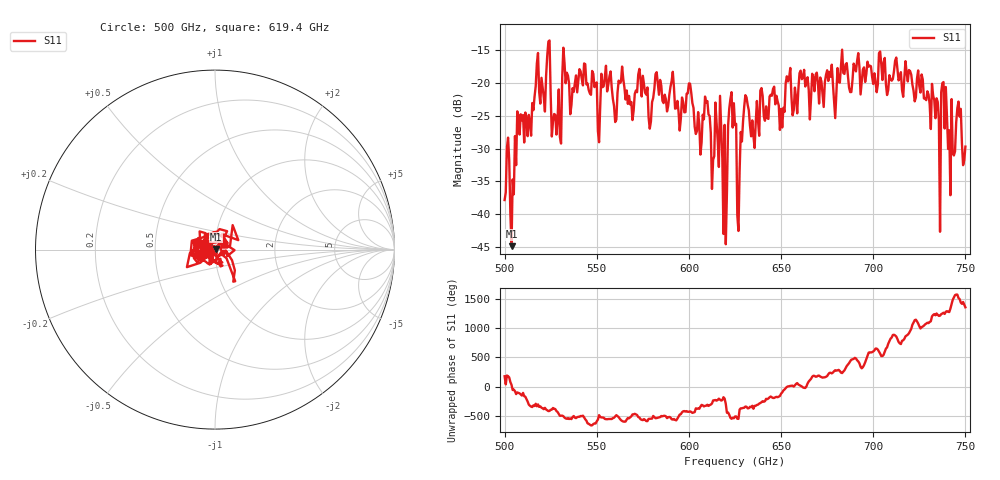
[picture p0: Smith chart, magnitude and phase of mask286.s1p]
!Created with skrf (http://scikit-rf.org).
# GHz S MA R 50.0
!freq magS11 angS11
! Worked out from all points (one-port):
!   401 points, 500 GHz to 750 GHz, reference 50 ohm
!   lowest |S11| = -44.8 dB at 503.8 GHz (marker M1), VSWR 1.01, Z = 50.5 + j0.301 ohm
!   |S11| at or under -10 dB: start of sweep to end of sweep
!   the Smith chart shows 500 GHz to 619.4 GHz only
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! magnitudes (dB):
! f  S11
! 500 GHz  -37.8
! 503.8 GHz  -44.8
! 508.1 GHz  -27.9
! 513.1 GHz  -24.9
! 517.5 GHz  -17.1
! 523.8 GHz  -13.7
! 526.9 GHz  -24.8
! 531.2 GHz  -19.2
! 562.5 GHz  -20.1
! 593.8 GHz  -22.8
! 610 GHz  -22.8
! 612.5 GHz  -36.1
! 616.2 GHz  -32.8
! 619.4 GHz  -26.4
! 622.5 GHz  -22.5
! 625 GHz  -26.5
! 627.5 GHz  -33.4
! 631.2 GHz  -22.2
! 634.4 GHz  -25.7
! 656.2 GHz  -25.0
! 687.5 GHz  -21.4
! 718.8 GHz  -19.8
! 733.1 GHz  -22.7
! 735 GHz  -22.9
! 738.1 GHz  -19.9
! 743.1 GHz  -30.6
! 746.2 GHz  -22.9
! 750 GHz  -29.7
